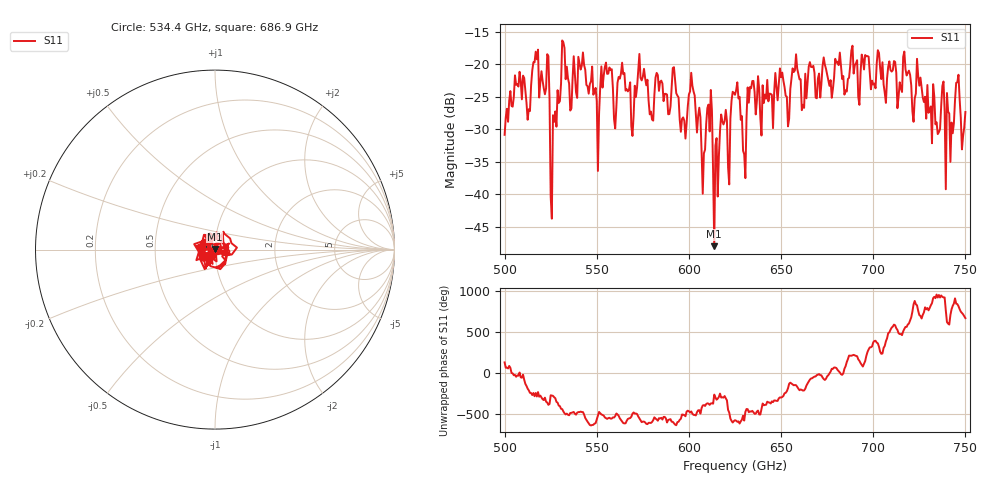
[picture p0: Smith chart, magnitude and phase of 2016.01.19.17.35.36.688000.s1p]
!Created with skrf (http://scikit-rf.org).
# GHz S RI R 50.0
!freq ReS11 ImS11
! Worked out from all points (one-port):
!   401 points, 500 GHz to 750 GHz, reference 50 ohm
!   lowest |S11| = -48.0 dB at 613.8 GHz (marker M1), VSWR 1.01, Z = 50 + j0.397 ohm
!   |S11| at or under -10 dB: start of sweep to end of sweep
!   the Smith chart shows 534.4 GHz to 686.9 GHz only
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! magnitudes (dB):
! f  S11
! 500 GHz  -30.9
! 506.9 GHz  -23.0
! 513.1 GHz  -26.9
! 516.9 GHz  -18.1
! 523.1 GHz  -18.5
! 526.2 GHz  -27.8
! 531.2 GHz  -16.3
! 550 GHz  -25.7
! 562.5 GHz  -22.2
! 570 GHz  -27.9
! 573.8 GHz  -22.1
! 579.4 GHz  -27.3
! 593.8 GHz  -24.8
! 596.9 GHz  -28.2
! 601.9 GHz  -23.3
! 608.1 GHz  -33.7
! 611.2 GHz  -30.3
! 613.8 GHz  -48.0
! 625 GHz  -24.7
! 629.4 GHz  -33.3
! 634.4 GHz  -22.6
! 656.2 GHz  -20.6
! 687.5 GHz  -20.3
! 718.8 GHz  -21.3
! 735 GHz  -30.7
! 742.5 GHz  -29.0
! 745.6 GHz  -22.8
! 750 GHz  -27.3
